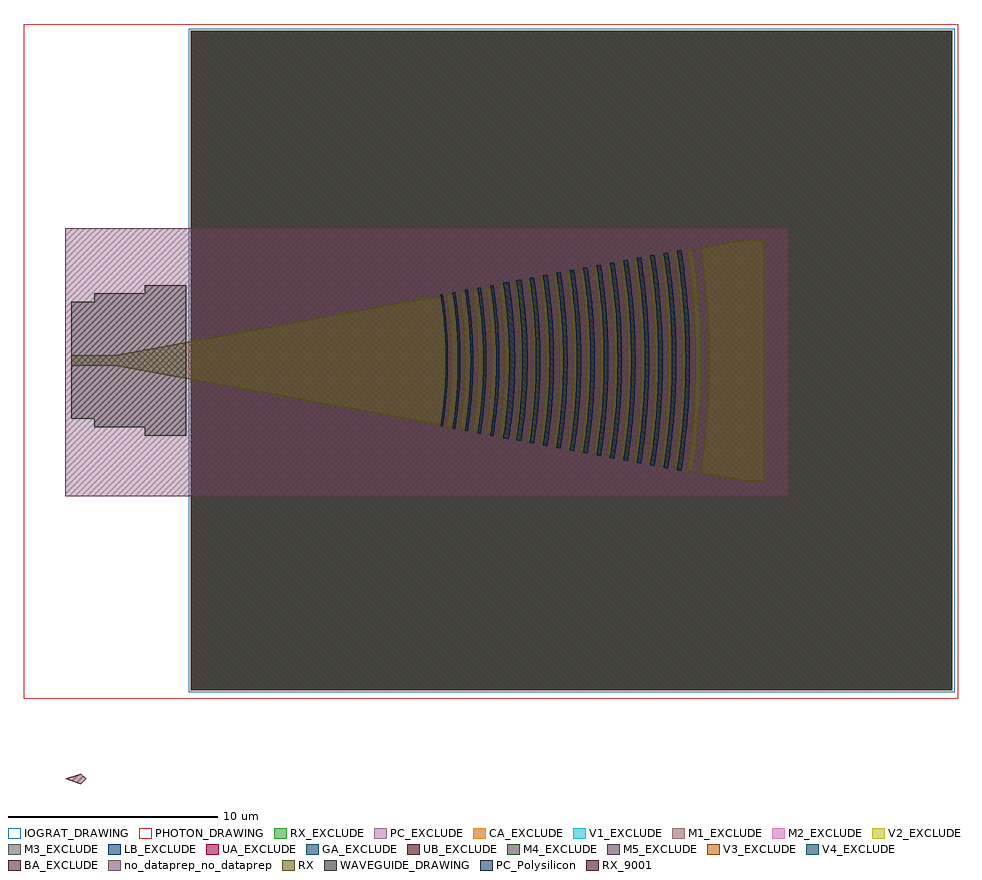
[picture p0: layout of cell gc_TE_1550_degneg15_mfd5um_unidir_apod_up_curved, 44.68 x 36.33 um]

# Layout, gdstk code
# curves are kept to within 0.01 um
import gdstk
lib = gdstk.Library(unit=1e-6, precision=1e-09)
def R(c, l, rs):  # rectangles x0, y0, x1, y1
    for r in rs: c.add(gdstk.rectangle(r[:2], r[2:], *l))
def P(c, l, *ps):  # polygons
    for p in ps: c.add(gdstk.Polygon(p, *l))
RX = (2, 0)
RX_EXCLUDE = (2, 2)
RX_9001 = (2, 9001)
PC_Polysilicon = (7, 0)
PC_EXCLUDE = (7, 2)
CA_EXCLUDE = (14, 2)
M1_EXCLUDE = (15, 2)
V1_EXCLUDE = (16, 3)
M2_EXCLUDE = (17, 2)
V2_EXCLUDE = (18, 3)
M3_EXCLUDE = (19, 2)
LB_EXCLUDE = (69, 2)
UA_EXCLUDE = (161, 2)
GA_EXCLUDE = (162, 2)
UB_EXCLUDE = (163, 2)
PHOTON_DRAWING = (212, 235)
WAVEGUIDE_DRAWING = (212, 239)
IOGRAT_DRAWING = (212, 252)
M4_EXCLUDE = (578, 2)
M5_EXCLUDE = (579, 2)
V3_EXCLUDE = (580, 2)
V4_EXCLUDE = (581, 2)
no_dataprep_no_dataprep = (1015, 0)
BA_EXCLUDE = (1560, 2)

gc_te_1550_degneg15_mfd5 = lib.new_cell('gc_TE_1550_degneg15_mfd5um_unidir_apod_up_curved$M0$')
P(gc_te_1550_degneg15_mfd5, RX, [(159.2,-29.19),(154.94,-28.4),(155.39,-25.31),(155.62,-23.56),(155.9,-21.24),(156.15,-18.91),(156.47,-15.42),(156.76,-11.35),(156.94,-7.85),(157.05,-4.36),(157.1,-0.87),(157.09,2.04),(157.05,4.36),(156.94,7.85),(156.76,11.35),(156.56,14.26),(156.26,17.75),(155.9,21.24),(155.62,23.57),(155.39,25.31),(154.94,28.4),(159.2,29.19),(159.42,27.81),(159.68,26.02),(160.15,22.43),(160.36,20.64),(160.55,18.84),(160.88,15.25),(161.14,11.66),(161.33,8.08),(161.45,4.49),(161.5,0.9),(161.49,-2.09),(161.45,-4.49),(161.33,-8.08),(161.14,-11.66),(160.88,-15.25),(160.55,-18.84),(160.36,-20.64),(160.15,-22.43),(159.68,-26.02),(159.42,-27.81)],
  [(164.72,-30.2),(160.58,-29.44),(160.98,-26.85),(161.31,-24.44),(161.54,-22.62),(161.75,-20.82),(162.06,-17.8),(162.37,-14.18),(162.64,-9.95),(162.75,-7.54),(162.85,-4.53),(162.9,-0.91),(162.89,2.11),(162.85,4.53),(162.75,7.54),(162.64,9.96),(162.37,14.18),(162.06,17.8),(161.88,19.61),(161.54,22.62),(161.23,25.04),(160.98,26.85),(160.58,29.44),(164.72,30.2),(165.13,27.54),(165.55,24.45),(165.92,21.35),(166.18,18.88),(166.35,17.02),(166.6,13.93),(166.8,10.83),(166.92,8.35),(167.03,5.26),(167.09,2.17),(167.1,0.93),(167.09,-2.17),(167.03,-5.26),(166.97,-7.12),(166.8,-10.83),(166.6,-13.92),(166.35,-17.02),(166.18,-18.88),(165.85,-21.97),(165.55,-24.45),(165.13,-27.54)],
  [(170.26,-31.21),(166.3,-30.49),(166.8,-27.18),(167.29,-23.43),(167.77,-19.06),(168,-16.56),(168.28,-12.81),(168.43,-10.31),(168.52,-8.44),(168.63,-5.31),(168.69,-2.19),(168.7,-0.94),(168.69,2.19),(168.66,4.06),(168.57,7.19),(168.36,11.56),(168.15,14.68),(168,16.56),(167.77,19.06),(167.29,23.43),(166.8,27.18),(166.3,30.49),(170.26,31.21),(170.58,29.1),(170.94,26.54),(171.34,23.35),(171.69,20.15),(172.04,16.31),(172.23,13.75),(172.39,11.19),(172.49,9.27),(172.57,7.36),(172.63,5.44),(172.7,0.96),(172.69,-2.24),(172.66,-4.16),(172.57,-7.36),(172.39,-11.19),(172.14,-15.03),(171.93,-17.59),(171.69,-20.15),(171.34,-23.35),(170.94,-26.54),(170.58,-29.1)],
  [(176,-32.26),(172.23,-31.57),(172.65,-28.79),(173.17,-24.91),(173.61,-21.03),(173.8,-19.09),(174.03,-16.5),(174.18,-14.56),(174.35,-11.97),(174.54,-8.09),(174.66,-4.21),(174.7,-0.97),(174.69,2.26),(174.66,4.21),(174.59,6.79),(174.42,10.68),(174.18,14.56),(174.03,16.5),(173.8,19.09),(173.4,22.97),(172.92,26.85),(172.46,30.09),(172.23,31.57),(176,32.26),(176.42,29.42),(176.78,26.77),(177.18,23.47),(177.59,19.5),(177.82,16.86),(178.02,14.21),(178.22,10.91),(178.34,8.26),(178.46,4.3),(178.5,0.99),(178.49,-2.31),(178.46,-4.3),(178.41,-6.28),(178.34,-8.26),(178.22,-10.91),(178.02,-14.21),(177.71,-18.18),(177.46,-20.82),(177.18,-23.47),(176.78,-26.77),(176.42,-29.42)],
  [(181.91,-33.35),(178.46,-32.72),(179.08,-28.49),(179.34,-26.48),(179.66,-23.8),(180.08,-19.78),(180.31,-17.09),(180.6,-13.07),(180.81,-9.05),(180.96,-4.36),(181,-1.01),(181,1.01),(180.96,4.36),(180.81,9.05),(180.6,13.07),(180.31,17.09),(180.08,19.78),(179.66,23.8),(179.34,26.48),(179.08,28.49),(178.46,32.72),(181.91,33.35),(182.63,28.36),(182.89,26.31),(183.21,23.58),(183.62,19.48),(183.85,16.74),(184,14.69),(184.17,11.96),(184.36,7.86),(184.47,3.76),(184.5,1.03),(184.5,-1.03),(184.47,-3.76),(184.36,-7.86),(184.17,-11.96),(184,-14.69),(183.85,-16.74),(183.62,-19.48),(183.21,-23.58),(182.89,-26.31),(182.63,-28.36)],
  [(187.94,-34.45),(184.57,-33.84),(185.11,-30.16),(185.48,-27.39),(185.65,-26),(186.04,-22.53),(186.43,-18.37),(186.74,-14.21),(186.94,-10.75),(187.03,-8.67),(187.14,-5.2),(187.19,-2.43),(187.2,-1.04),(187.2,1.04),(187.17,3.81),(187.1,6.59),(187.03,8.67),(186.94,10.75),(186.74,14.21),(186.54,16.99),(186.37,19.07),(186.11,21.84),(185.65,26),(185.48,27.39),(185.11,30.16),(184.57,33.84),(187.94,34.45),(188.49,30.71),(188.95,27.18),(189.35,23.65),(189.7,20.12),(189.88,18),(190.18,13.77),(190.37,10.24),(190.48,7.41),(190.54,5.29),(190.6,1.06),(190.59,-2.47),(190.54,-5.29),(190.48,-7.41),(190.37,-10.24),(190.3,-11.65),(190.18,-13.77),(189.99,-16.59),(189.7,-20.12),(189.2,-25.06),(188.68,-29.3),(188.29,-32.12)],
  [(194.13,-35.59),(191,-35.01),(191.25,-33.36),(191.75,-29.77),(192.11,-26.9),(192.58,-22.6),(192.91,-19.01),(193.18,-15.42),(193.43,-11.12),(193.58,-7.53),(193.64,-5.38),(193.67,-3.95),(193.7,-1.08),(193.7,1.08),(193.67,3.95),(193.58,7.53),(193.43,11.12),(193.27,13.99),(193.08,16.86),(192.72,21.16),(192.43,24.03),(192.11,26.9),(191.75,29.77),(191.25,33.36),(191,35.01),(194.13,35.59),(194.6,32.45),(194.9,30.26),(195.27,27.35),(195.75,22.97),(196.15,18.6),(196.46,14.22),(196.66,10.57),(196.75,8.39),(196.82,6.2),(196.87,4.01),(196.9,1.09),(196.9,-1.09),(196.87,-4.01),(196.75,-8.39),(196.55,-12.76),(196.15,-18.6),(195.75,-22.97),(195.27,-27.35),(194.9,-30.26),(194.6,-32.45)],
  [(200.33,-36.73),(197.08,-36.13),(197.24,-35.17),(197.67,-32.21),(197.97,-29.99),(198.42,-26.28),(198.81,-22.58),(199.14,-18.88),(199.41,-15.18),(199.69,-10),(199.82,-6.29),(199.88,-3.33),(199.9,-1.11),(199.88,3.33),(199.82,6.29),(199.72,9.25),(199.62,11.48),(199.5,13.7),(199.36,15.92),(199.14,18.88),(198.81,22.58),(198.42,26.28),(197.97,29.99),(197.67,32.21),(197.24,35.17),(197.08,36.13),(200.33,36.73),(200.81,33.47),(201.11,31.22),(201.56,27.46),(201.88,24.45),(202.23,20.69),(202.41,18.43),(202.57,16.17),(202.75,13.16),(202.89,10.16),(203,7.15),(203.04,5.64),(203.07,4.14),(203.1,1.13),(203.09,-2.63),(203.07,-4.14),(203,-7.15),(202.86,-10.91),(202.79,-12.41),(202.52,-16.93),(202.23,-20.69),(201.88,-24.45),(201.56,-27.46),(201.11,-31.22),(200.81,-33.47)],
  [(207.34,-38.01),(204.58,-37.5),(205.06,-34.18),(205.56,-30.34),(205.83,-28.04),(206.23,-24.2),(206.51,-21.12),(206.75,-18.05),(207,-14.21),(207.12,-11.91),(207.22,-9.6),(207.35,-4.99),(207.38,-3.46),(207.4,-1.15),(207.38,3.46),(207.27,8.07),(207.22,9.6),(207.12,11.91),(207,14.21),(206.75,18.05),(206.51,21.12),(206.23,24.2),(205.83,28.04),(205.56,30.34),(205.06,34.18),(204.58,37.5),(207.34,38.01),(207.74,35.44),(207.96,33.88),(208.47,29.99),(209,25.31),(209.23,22.98),(209.5,19.86),(209.68,17.52),(209.88,14.41),(210.08,10.51),(210.19,7.4),(210.25,5.06),(210.28,3.51),(210.3,1.17),(210.28,-3.51),(210.14,-8.96),(210.08,-10.52),(209.88,-14.41),(209.68,-17.52),(209.5,-19.86),(209.23,-22.98),(208.83,-26.87),(208.47,-29.99),(208.17,-32.32),(207.74,-35.44)],
  [(213.54,-39.15),(210.7,-38.63),(210.98,-36.8),(211.43,-33.64),(211.64,-32.06),(212.03,-28.89),(212.21,-27.31),(212.61,-23.35),(212.95,-19.39),(213.07,-17.81),(213.32,-13.85),(213.44,-11.48),(213.59,-7.52),(213.63,-5.94),(213.7,-1.19),(213.7,1.19),(213.65,5.14),(213.59,7.52),(213.44,11.48),(213.32,13.85),(213.07,17.81),(212.82,20.97),(212.61,23.35),(212.21,27.31),(211.84,30.47),(211.43,33.64),(210.98,36.8),(210.7,38.63),(213.54,39.15),(213.95,36.5),(214.29,34.09),(214.8,30.08),(215.08,27.68),(215.25,26.07),(215.49,23.67),(215.77,20.46),(216.06,16.45),(216.21,14.04),(216.37,10.83),(216.46,8.42),(216.55,5.21),(216.6,1.2),(216.6,-1.2),(216.55,-5.21),(216.46,-8.42),(216.37,-10.83),(216.21,-14.04),(216.06,-16.45),(215.77,-20.46),(215.49,-23.67),(215.25,-26.07),(215.08,-27.68),(214.8,-30.08),(214.29,-34.09),(213.95,-36.5)],
  [(219.59,-40.26),(216.7,-39.73),(216.99,-37.85),(217.34,-35.41),(217.67,-32.97),(218.07,-29.71),(218.43,-26.46),(218.75,-23.2),(218.96,-20.76),(219.26,-16.69),(219.36,-15.06),(219.6,-10.18),(219.75,-5.29),(219.8,-1.22),(219.8,1.22),(219.75,5.29),(219.6,10.18),(219.36,15.06),(219.26,16.69),(218.96,20.76),(218.75,23.2),(218.43,26.46),(218.07,29.71),(217.67,32.97),(217.34,35.41),(217.11,37.04),(216.7,39.73),(219.59,40.26),(220.12,36.7),(220.67,32.58),(220.87,30.93),(221.33,26.81),(221.79,21.86),(222.04,18.56),(222.21,16.08),(222.43,11.96),(222.53,9.49),(222.61,7.01),(222.65,5.36),(222.7,1.24),(222.7,-1.24),(222.65,-5.36),(222.53,-9.49),(222.43,-11.96),(222.26,-15.26),(221.92,-20.21),(221.72,-22.68),(221.33,-26.81),(220.87,-30.93),(220.67,-32.58),(220.12,-36.7)],
  [(226,-41.43),(223.14,-40.91),(223.56,-38.14),(223.91,-35.62),(224.34,-32.27),(224.54,-30.59),(224.73,-28.92),(224.99,-26.4),(225.23,-23.89),(225.51,-20.53),(225.75,-17.18),(225.9,-14.67),(226.13,-9.64),(226.23,-6.29),(226.3,-1.26),(226.3,1.26),(226.26,4.61),(226.23,6.29),(226.13,9.64),(225.9,14.67),(225.75,17.18),(225.51,20.53),(225.23,23.89),(224.99,26.4),(224.73,28.92),(224.54,30.59),(224.34,32.27),(223.91,35.62),(223.56,38.14),(223.14,40.91),(226,41.43),(226.3,39.47),(226.78,36.08),(227.11,33.53),(227.61,29.29),(227.79,27.59),(228.19,23.34),(228.4,20.8),(228.64,17.4),(228.84,14.01),(228.96,11.46),(229.1,7.22),(229.16,4.67),(229.2,1.27),(229.2,-1.27),(229.16,-4.67),(229.08,-8.06),(228.96,-11.46),(228.84,-14.01),(228.64,-17.4),(228.4,-20.8),(228.19,-23.34),(227.79,-27.59),(227.61,-29.29),(227.11,-33.53),(226.78,-36.08),(226.3,-39.47)],
  [(232.41,-42.61),(229.55,-42.08),(229.98,-39.23),(230.34,-36.64),(230.57,-34.92),(230.89,-32.33),(231.18,-29.75),(231.45,-27.16),(231.7,-24.57),(231.92,-21.99),(232.23,-17.68),(232.34,-15.95),(232.59,-10.78),(232.68,-8.19),(232.76,-4.74),(232.8,-1.29),(232.8,1.29),(232.76,4.74),(232.68,8.19),(232.62,9.92),(232.43,14.23),(232.34,15.95),(232.05,20.26),(231.85,22.85),(231.62,25.44),(231.18,29.75),(230.99,31.47),(230.57,34.92),(230.34,36.64),(229.98,39.23),(229.55,42.08),(232.41,42.61),(232.97,38.85),(233.44,35.36),(233.66,33.61),(234.06,30.12),(234.42,26.63),(234.81,22.26),(235.18,17.02),(235.33,14.4),(235.49,10.91),(235.58,8.29),(235.66,4.8),(235.7,1.31),(235.7,-1.31),(235.66,-4.8),(235.58,-8.29),(235.49,-10.91),(235.33,-14.4),(235.18,-17.02),(234.81,-22.26),(234.42,-26.63),(234.06,-30.12),(233.66,-33.61),(233.44,-35.36),(232.97,-38.85)],
  [(238.82,-43.78),(235.96,-43.26),(236.4,-40.33),(236.77,-37.67),(237.12,-35.01),(237.44,-32.35),(238,-27.03),(238.32,-23.49),(238.53,-20.83),(238.77,-17.28),(239.05,-11.97),(239.15,-9.31),(239.2,-7.53),(239.26,-4.87),(239.3,-1.33),(239.3,1.33),(239.26,4.87),(239.12,10.19),(239.05,11.97),(238.92,14.62),(238.77,17.28),(238.53,20.83),(238.32,23.49),(238,27.03),(237.44,32.35),(237.12,35.01),(236.77,37.67),(236.4,40.33),(235.96,43.26),(238.82,43.78),(239.52,39.02),(239.76,37.23),(240.21,33.64),(240.42,31.84),(240.8,28.26),(241.21,23.77),(241.55,19.29),(241.72,16.6),(241.82,14.8),(241.98,11.21),(242.12,6.73),(242.16,4.93),(242.2,1.35),(242.2,-1.35),(242.16,-4.93),(242.1,-7.62),(241.98,-11.21),(241.82,-14.8),(241.72,-16.6),(241.55,-19.29),(241.42,-21.08),(241.21,-23.77),(240.97,-26.46),(240.8,-28.26),(240.42,-31.84),(240.1,-34.54),(239.76,-37.23),(239.52,-39.02)],
  [(245.23,-44.96),(242.37,-44.43),(242.69,-42.33),(243.08,-39.6),(243.56,-35.96),(243.78,-34.14),(244.19,-30.5),(244.55,-26.86),(244.87,-23.21),(245.14,-19.57),(245.31,-16.84),(245.46,-14.11),(245.58,-11.38),(245.7,-7.74),(245.76,-5.01),(245.8,-1.37),(245.8,1.37),(245.76,5.01),(245.7,7.74),(245.58,11.38),(245.46,14.11),(245.31,16.84),(245.01,21.39),(244.87,23.21),(244.55,26.86),(244.19,30.5),(243.99,32.32),(243.56,35.96),(243.08,39.6),(242.69,42.33),(242.37,44.43),(245.23,44.96),(245.82,40.99),(246.07,39.15),(246.43,36.38),(246.87,32.7),(247.26,29.02),(247.44,27.17),(247.76,23.49),(247.97,20.72),(248.15,17.96),(248.31,15.2),(248.44,12.44),(248.6,7.83),(248.66,5.07),(248.7,1.38),(248.7,-1.38),(248.66,-5.07),(248.6,-7.83),(248.51,-10.59),(248.44,-12.44),(248.31,-15.2),(247.97,-20.72),(247.76,-23.49),(247.44,-27.17),(247.26,-29.02),(246.87,-32.7),(246.43,-36.38),(246.07,-39.15),(245.82,-40.99)],
  [(251.63,-46.13),(248.77,-45.61),(249.24,-42.52),(249.76,-38.78),(250,-36.91),(250.44,-33.17),(250.84,-29.44),(251.02,-27.57),(251.19,-25.7),(251.42,-22.89),(251.8,-17.29),(251.95,-14.48),(252.11,-10.75),(252.26,-5.14),(252.3,-1.4),(252.3,1.4),(252.26,5.14),(252.11,10.75),(251.95,14.48),(251.8,17.29),(251.49,21.96),(251.27,24.76),(251.02,27.57),(250.84,29.44),(250.44,33.17),(250,36.91),(249.76,38.78),(249.24,42.52),(248.77,45.61),(251.63,46.13),(251.97,43.95),(252.24,42.06),(252.63,39.23),(252.99,36.39),(253.53,31.66),(253.72,29.77),(253.99,26.94),(254.31,23.16),(254.45,21.27),(254.69,17.49),(254.89,13.71),(254.97,11.81),(255.07,8.98),(255.12,7.09),(255.2,1.42),(255.2,-1.42),(255.17,-4.25),(255.12,-7.09),(255.04,-9.92),(254.89,-13.71),(254.69,-17.49),(254.45,-21.27),(254.31,-23.16),(253.99,-26.94),(253.72,-29.77),(253.53,-31.66),(252.99,-36.39),(252.63,-39.23),(252.24,-42.06),(251.97,-43.95)],
  [(258.04,-47.31),(255.19,-46.78),(255.8,-42.65),(256.32,-38.82),(256.56,-36.9),(257,-33.07),(257.3,-30.19),(257.66,-26.36),(257.82,-24.44),(257.97,-22.53),(258.17,-19.65),(258.44,-14.86),(258.6,-11.02),(258.72,-7.19),(258.8,-1.44),(258.8,1.44),(258.74,6.23),(258.6,11.02),(258.44,14.86),(258.34,16.77),(258.17,19.65),(257.97,22.53),(257.66,26.36),(257.3,30.19),(257,33.07),(256.78,34.99),(256.32,38.82),(255.8,42.65),(255.19,46.78),(258.04,47.31),(258.53,44.1),(258.8,42.16),(259.19,39.25),(259.55,36.35),(259.88,33.44),(260.28,29.56),(260.71,24.72),(261.06,19.87),(261.18,17.93),(261.38,14.05),(261.5,11.15),(261.64,6.3),(261.7,1.45),(261.7,-1.45),(261.64,-6.3),(261.5,-11.15),(261.38,-14.05),(261.18,-17.93),(260.86,-22.78),(260.63,-25.69),(260.28,-29.56),(259.88,-33.44),(259.55,-36.35),(259.19,-39.26),(258.8,-42.16),(258.53,-44.1)],
  [(264.45,-48.48),(261.6,-47.96),(261.94,-45.69),(262.63,-40.78),(263.12,-36.85),(263.56,-32.92),(263.86,-29.97),(264.13,-27.02),(264.37,-24.07),(264.52,-22.11),(264.83,-17.2),(265.02,-13.27),(265.1,-11.3),(265.19,-8.35),(265.27,-4.42),(265.3,-1.47),(265.3,1.47),(265.27,4.42),(265.19,8.35),(265.1,11.3),(265.02,13.27),(264.83,17.2),(264.52,22.11),(264.13,27.02),(263.86,29.97),(263.56,32.92),(263.12,36.85),(262.63,40.78),(261.94,45.69),(261.6,47.96),(264.45,48.48),(264.95,45.2),(265.23,43.21),(265.63,40.23),(266.11,36.26),(266.44,33.28),(266.84,29.3),(267.02,27.32),(267.34,23.34),(267.48,21.36),(267.72,17.38),(267.96,12.42),(268.09,8.44),(268.17,4.47),(268.2,1.49),(268.2,-1.49),(268.17,-4.47),(268.09,-8.44),(268.03,-10.43),(267.96,-12.42),(267.72,-17.38),(267.48,-21.36),(267.34,-23.34),(267.02,-27.32),(266.84,-29.3),(266.44,-33.28),(266.11,-36.26),(265.63,-40.23),(265.23,-43.21),(264.95,-45.2)],
  [(270.86,-49.66),(268,-49.13),(268.21,-47.82),(268.65,-44.8),(268.93,-42.78),(269.44,-38.76),(269.8,-35.74),(270.02,-33.72),(270.42,-29.7),(270.69,-26.68),(271,-22.65),(271.2,-19.63),(271.47,-14.6),(271.63,-10.57),(271.69,-8.56),(271.77,-4.53),(271.8,-1.51),(271.8,1.51),(271.77,4.53),(271.69,8.56),(271.63,10.57),(271.47,14.6),(271.26,18.62),(271.07,21.64),(270.85,24.66),(270.69,26.68),(270.42,29.7),(270.02,33.72),(269.8,35.74),(269.32,39.76),(268.93,42.78),(268.36,46.81),(268,49.13),(270.86,49.66),(271.07,48.33),(271.66,44.26),(272.32,39.17),(272.56,37.14),(273.11,32.05),(273.4,29),(273.66,25.94),(274.03,20.86),(274.32,15.77),(274.41,13.74),(274.56,9.67),(274.61,7.63),(274.67,4.58),(274.7,1.53),(274.7,-1.53),(274.67,-4.58),(274.56,-9.67),(274.49,-11.7),(274.32,-15.77),(274.21,-17.8),(274.03,-20.86),(273.74,-24.93),(273.49,-27.98),(273.21,-31.03),(272.68,-36.12),(272.32,-39.17),(271.66,-44.26),(271.07,-48.33)],
  [(277.27,-50.83),(274.41,-50.31),(275.22,-44.84),(275.89,-39.68),(276.25,-36.59),(276.69,-32.47),(276.89,-30.41),(277.16,-27.31),(277.48,-23.19),(277.62,-21.13),(277.86,-17.01),(277.96,-14.95),(278.09,-11.85),(278.21,-7.73),(278.27,-4.64),(278.3,-1.55),(278.3,1.55),(278.27,4.64),(278.21,7.73),(278.09,11.85),(277.86,17.01),(277.62,21.13),(277.48,23.19),(277.16,27.31),(276.89,30.41),(276.69,32.47),(276.25,36.59),(275.89,39.68),(275.36,43.81),(274.62,48.96),(274.41,50.31),(277.27,50.83),(277.64,48.43),(278.23,44.26),(278.89,39.06),(279.36,34.89),(279.87,29.68),(280.05,27.6),(280.37,23.43),(280.58,20.31),(280.86,15.1),(281.02,10.94),(281.11,7.81),(281.17,4.69),(281.2,1.56),(281.2,-1.56),(281.17,-4.69),(281.11,-7.81),(281.02,-10.94),(280.81,-16.14),(280.58,-20.31),(280.37,-23.43),(280.05,-27.6),(279.87,-29.68),(279.36,-34.89),(279.13,-36.97),(278.89,-39.06),(278.23,-44.26),(277.64,-48.43)],
  [(283.68,-52.01),(280.82,-51.48),(281.5,-46.94),(282.07,-42.72),(282.46,-39.56),(282.82,-36.39),(283.15,-33.23),(283.45,-30.06),(283.72,-26.9),(283.96,-23.73),(284.17,-20.57),(284.35,-17.4),(284.5,-14.24),(284.62,-11.08),(284.71,-7.91),(284.77,-4.75),(284.8,-1.58),(284.8,1.58),(284.77,4.75),(284.71,7.91),(284.62,11.08),(284.5,14.24),(284.35,17.4),(284.17,20.57),(283.96,23.73),(283.72,26.9),(283.45,30.06),(283.15,33.23),(282.82,36.39),(282.46,39.56),(282.07,42.72),(281.5,46.94),(280.82,51.48),(283.68,52.01),(283.9,50.61),(284.66,45.29),(285.21,41.02),(285.7,36.76),(286.14,32.5),(286.34,30.37),(286.61,27.17),(286.85,23.98),(287.13,19.71),(287.35,15.45),(287.52,11.19),(287.61,7.99),(287.67,4.79),(287.7,1.6),(287.7,-1.6),(287.67,-4.79),(287.61,-7.99),(287.52,-11.19),(287.35,-15.45),(287.19,-18.65),(286.85,-23.98),(286.61,-27.17),(286.34,-30.37),(286.14,-32.5),(285.58,-37.83),(285.21,-41.02),(284.66,-45.29),(283.9,-50.61)],
  [(290.09,-53.18),(287.23,-52.66),(287.77,-49.09),(288.22,-45.85),(288.64,-42.62),(289.03,-39.38),(289.39,-36.14),(289.72,-32.91),(290.11,-28.59),(290.44,-24.28),(290.59,-22.12),(290.84,-17.8),(290.99,-14.56),(291.08,-12.41),(291.18,-9.17),(291.27,-4.86),(291.3,-1.62),(291.3,1.62),(291.27,4.85),(291.18,9.17),(291.08,12.41),(290.84,17.8),(290.72,19.96),(290.59,22.12),(290.28,26.43),(290.11,28.59),(289.72,32.91),(289.39,36.14),(289.03,39.38),(288.64,42.62),(288.22,45.85),(287.77,49.09),(287.23,52.66),(290.09,53.18),(290.79,48.49),(291.09,46.31),(291.38,44.13),(291.91,39.77),(292.27,36.5),(292.6,33.23),(292.9,29.96),(293.17,26.7),(293.41,23.43),(293.55,21.25),(293.79,16.89),(293.89,14.71),(294.08,9.26),(294.17,4.9),(294.2,1.63),(294.2,-1.63),(294.17,-4.9),(294.05,-10.35),(293.89,-14.71),(293.79,-16.89),(293.55,-21.25),(293.41,-23.43),(293.17,-26.7),(292.9,-29.96),(292.6,-33.23),(292.27,-36.5),(291.91,-39.77),(291.38,-44.13),(291.09,-46.31),(290.79,-48.49)],
  [(314.2,-57.6),(293.64,-53.83),(294.03,-51.29),(294.35,-49.08),(294.8,-45.77),(295.22,-42.46),(295.61,-39.16),(295.85,-36.95),(296.29,-32.54),(296.76,-27.02),(297,-23.71),(297.21,-20.4),(297.33,-18.2),(297.53,-13.79),(297.61,-11.58),(297.73,-7.17),(297.8,-1.65),(297.8,1.65),(297.75,6.07),(297.61,11.58),(297.53,13.79),(297.33,18.2),(297.21,20.4),(297,23.71),(296.76,27.02),(296.29,32.54),(295.85,36.95),(295.61,39.16),(295.22,42.46),(294.8,45.77),(294.35,49.08),(294.03,51.29),(293.64,53.83),(314.2,57.6),(324.2,57.6),(324.2,-57.6)])
R(gc_te_1550_degneg15_mfd5, RX_EXCLUDE, [(50,-157.6,414.2,157.6)])
P(gc_te_1550_degneg15_mfd5, RX_9001, [(-2.5,-202.5),(-10,-200),(-2.5,-197.5),(0,-200)])
P(gc_te_1550_degneg15_mfd5, PC_Polysilicon, [(170.47,-31.72),(169.48,-31.53),(169.88,-28.99),(170.15,-27.07),(170.64,-23.25),(171.05,-19.43),(171.34,-16.24),(171.53,-13.7),(171.69,-11.15),(171.79,-9.24),(171.93,-5.41),(171.96,-4.14),(172,-0.96),(171.99,2.23),(171.96,4.14),(171.89,6.69),(171.79,9.24),(171.69,11.15),(171.44,14.97),(171.23,17.52),(171.05,19.43),(170.64,23.25),(170.15,27.07),(169.88,28.99),(169.48,31.53),(170.47,31.72),(170.77,29.79),(171.14,27.23),(171.63,23.39),(171.98,20.18),(172.28,16.98),(172.57,13.14),(172.69,11.21),(172.84,8.01),(172.93,5.45),(172.96,4.16),(173,0.96),(172.99,-2.24),(172.96,-4.16),(172.89,-6.73),(172.69,-11.21),(172.48,-14.42),(172.28,-16.98),(171.98,-20.18),(171.63,-23.39),(171.14,-27.23),(170.77,-29.79)],
  [(176.39,-32.82),(175.21,-32.6),(175.62,-29.96),(176.16,-26.01),(176.4,-24.04),(176.76,-20.74),(176.95,-18.77),(177.12,-16.79),(177.36,-13.5),(177.55,-10.21),(177.64,-8.23),(177.71,-6.26),(177.76,-4.28),(177.8,-0.99),(177.8,0.99),(177.76,4.28),(177.71,6.26),(177.64,8.23),(177.55,10.21),(177.36,13.5),(177.12,16.79),(176.95,18.77),(176.76,20.74),(176.4,24.04),(176.16,26.01),(175.62,29.96),(175.21,32.6),(176.39,32.82),(176.9,29.5),(177.43,25.52),(177.74,22.87),(177.95,20.88),(178.26,17.57),(178.56,13.59),(178.68,11.6),(178.81,8.95),(178.96,4.31),(179,0.99),(178.99,-2.32),(178.96,-4.31),(178.86,-7.62),(178.75,-10.28),(178.68,-11.6),(178.42,-15.58),(178.08,-19.56),(177.88,-21.55),(177.59,-24.2),(177.26,-26.85),(176.9,-29.5)],
  [(182.41,-33.94),(181.13,-33.7),(181.65,-30.29),(182.19,-26.21),(182.51,-23.49),(182.86,-20.08),(183.04,-18.04),(183.3,-14.64),(183.51,-11.23),(183.66,-7.83),(183.74,-5.11),(183.8,-1.02),(183.8,1.02),(183.77,3.74),(183.66,7.83),(183.51,11.23),(183.3,14.64),(183.15,16.68),(182.86,20.08),(182.51,23.49),(182.19,26.21),(181.65,30.29),(181.13,33.7),(182.41,33.94),(182.63,32.56),(183.03,29.82),(183.48,26.39),(183.8,23.65),(184.02,21.6),(184.39,17.48),(184.55,15.43),(184.69,13.37),(184.84,10.63),(184.96,7.88),(185.07,3.77),(185.1,1.03),(185.1,-1.03),(185.07,-3.77),(184.96,-7.88),(184.77,-12),(184.5,-16.11),(184.33,-18.17),(184.02,-21.6),(183.56,-25.71),(183.03,-29.82),(182.63,-32.56)],
  [(188.63,-35.09),(187.15,-34.82),(187.58,-32),(187.88,-29.89),(188.33,-26.38),(188.72,-22.86),(189.12,-18.64),(189.48,-13.71),(189.6,-11.6),(189.7,-9.5),(189.78,-7.38),(189.87,-3.87),(189.9,-1.06),(189.9,1.06),(189.84,5.28),(189.7,9.5),(189.6,11.61),(189.48,13.71),(189.12,18.64),(188.93,20.75),(188.57,24.27),(188.33,26.38),(187.88,29.89),(187.58,32),(187.15,34.82),(188.63,35.09),(188.96,32.96),(189.16,31.55),(189.46,29.42),(189.73,27.29),(189.98,25.17),(190.21,23.04),(190.42,20.91),(190.67,18.08),(190.93,14.53),(191.06,12.41),(191.13,10.99),(191.28,7.44),(191.34,5.32),(191.4,1.06),(191.4,-1.06),(191.37,-3.9),(191.28,-7.44),(191.06,-12.41),(190.78,-16.66),(190.61,-18.79),(190.42,-20.91),(190.21,-23.04),(189.9,-25.87),(189.46,-29.42),(188.96,-32.96)],
  [(194.74,-36.23),(193.26,-35.95),(193.49,-34.5),(193.81,-32.32),(194.39,-27.96),(194.88,-23.6),(195.1,-21.43),(195.23,-19.97),(195.52,-16.34),(195.71,-13.44),(195.79,-11.98),(195.95,-8.35),(196.04,-5.45),(196.07,-3.99),(196.1,-1.09),(196.1,1.09),(196.04,5.45),(195.95,8.35),(195.86,10.53),(195.71,13.44),(195.52,16.34),(195.29,19.25),(195.1,21.43),(194.88,23.6),(194.56,26.51),(194.3,28.69),(194.01,30.87),(193.6,33.77),(193.26,35.95),(194.74,36.23),(195.29,32.57),(195.69,29.64),(196.05,26.71),(196.45,23.05),(196.66,20.86),(196.96,17.2),(197.16,14.27),(197.36,10.61),(197.45,8.42),(197.55,4.76),(197.6,1.1),(197.6,-1.1),(197.58,-3.29),(197.52,-6.22),(197.45,-8.42),(197.36,-10.61),(197.16,-14.27),(196.96,-17.2),(196.66,-20.86),(196.45,-23.05),(196.05,-26.71),(195.69,-29.64),(195.29,-32.57)],
  [(202.14,-37.6),(199.38,-37.09),(200.05,-32.59),(200.54,-28.85),(200.97,-25.1),(201.27,-22.1),(201.47,-19.86),(201.7,-16.86),(201.85,-14.61),(202.02,-11.61),(202.17,-7.87),(202.28,-3.37),(202.3,-1.12),(202.28,3.37),(202.17,7.87),(202.02,11.61),(201.94,13.11),(201.59,18.36),(201.27,22.1),(200.97,25.1),(200.72,27.35),(200.35,30.35),(200.05,32.59),(199.38,37.09),(202.14,37.6),(202.82,33.04),(203.22,30.01),(203.67,26.21),(203.83,24.69),(204.32,19.37),(204.44,17.85),(204.69,14.05),(204.85,11.01),(204.97,7.98),(205.05,4.94),(205.1,1.14),(205.08,-3.42),(204.97,-7.98),(204.85,-11.01),(204.69,-14.05),(204.44,-17.85),(204.19,-20.89),(203.98,-23.17),(203.67,-26.21),(203.22,-30.01),(202.82,-33.04)],
  [(208.07,-38.7),(205.6,-38.24),(205.96,-35.93),(206.29,-33.61),(206.7,-30.52),(207.15,-26.65),(207.39,-24.34),(207.68,-21.25),(207.81,-19.7),(207.93,-18.16),(208.14,-15.07),(208.31,-11.98),(208.38,-10.43),(208.47,-8.11),(208.55,-5.02),(208.58,-3.48),(208.6,-1.16),(208.58,3.48),(208.47,8.11),(208.38,10.43),(208.23,13.52),(208.14,15.07),(207.93,18.16),(207.68,21.25),(207.47,23.56),(207.06,27.43),(206.7,30.52),(206.5,32.06),(205.96,35.93),(205.6,38.24),(208.07,38.7),(208.43,36.36),(208.87,33.23),(209.46,28.54),(209.88,24.63),(210.3,19.94),(210.48,17.59),(210.68,14.46),(210.88,10.55),(210.99,7.43),(211.05,5.08),(211.08,3.52),(211.1,1.17),(211.08,-3.52),(211.01,-6.65),(210.94,-8.99),(210.88,-10.55),(210.68,-14.46),(210.48,-17.59),(210.3,-19.94),(210.03,-23.06),(209.72,-26.19),(209.46,-28.54),(208.87,-33.23),(208.43,-36.36)],
  [(214.08,-39.82),(212.01,-39.43),(212.26,-37.84),(212.72,-34.65),(213.14,-31.47),(213.69,-26.69),(214.01,-23.5),(214.41,-18.72),(214.72,-13.94),(214.84,-11.55),(214.99,-7.57),(215.05,-5.18),(215.1,-1.19),(215.1,1.19),(215.05,5.18),(214.99,7.57),(214.84,11.55),(214.72,13.94),(214.52,17.13),(214.35,19.52),(214.22,21.11),(214.01,23.5),(213.69,26.69),(213.14,31.47),(212.83,33.86),(212.26,37.84),(212.01,39.43),(214.08,39.82),(214.57,36.6),(215.01,33.38),(215.32,30.97),(215.78,26.95),(216.1,23.73),(216.38,20.51),(216.56,18.1),(216.77,14.88),(216.9,12.47),(216.97,10.86),(217.09,7.64),(217.15,5.23),(217.2,1.21),(217.2,-1.21),(217.15,-5.23),(217.09,-7.64),(216.97,-10.86),(216.9,-12.47),(216.77,-14.88),(216.56,-18.1),(216.38,-20.51),(216.1,-23.73),(215.78,-26.95),(215.32,-30.97),(215.01,-33.38),(214.57,-36.6)],
  [(220.49,-41.01),(218.42,-40.63),(219.03,-36.52),(219.58,-32.42),(219.97,-29.14),(220.4,-25.03),(220.76,-20.93),(221.06,-16.83),(221.33,-11.9),(221.51,-6.98),(221.55,-5.33),(221.6,-1.23),(221.6,1.23),(221.55,5.33),(221.51,6.98),(221.4,10.26),(221.25,13.54),(221.06,16.83),(220.89,19.29),(220.55,23.39),(220.32,25.85),(219.97,29.14),(219.58,32.42),(219.26,34.88),(218.67,38.99),(218.42,40.63),(220.49,41.01),(221.11,36.87),(221.66,32.73),(221.96,30.24),(222.32,26.93),(222.64,23.61),(222.92,20.3),(223.1,17.81),(223.3,14.5),(223.5,10.36),(223.63,6.21),(223.7,1.24),(223.7,-1.24),(223.66,-4.56),(223.61,-7.04),(223.5,-10.36),(223.3,-14.5),(223.1,-17.81),(222.92,-20.3),(222.64,-23.61),(222.32,-26.93),(221.96,-30.24),(221.66,-32.73),(221.11,-36.87)],
  [(226.89,-42.2),(224.82,-41.82),(225.33,-38.44),(225.69,-35.9),(226.02,-33.37),(226.42,-29.99),(226.78,-26.61),(227.02,-24.08),(227.43,-19.01),(227.74,-13.94),(227.86,-11.41),(228.03,-6.34),(228.1,-1.27),(228.1,1.27),(228.03,6.34),(227.86,11.41),(227.74,13.94),(227.43,19.01),(227.02,24.08),(226.78,26.61),(226.42,29.99),(226.02,33.37),(225.69,35.9),(225.21,39.28),(224.82,41.82),(226.89,42.2),(227.16,40.5),(227.77,36.24),(228.31,31.97),(228.87,26.86),(229.33,21.74),(229.64,17.48),(229.79,14.92),(229.96,11.51),(230.1,7.25),(230.16,4.69),(230.2,1.28),(230.2,-1.28),(230.16,-4.69),(230.08,-8.1),(229.96,-11.51),(229.88,-13.22),(229.64,-17.48),(229.46,-20.04),(229.26,-22.59),(228.87,-26.86),(228.41,-31.12),(227.77,-36.24),(227.16,-40.5)],
  [(233.3,-43.4),(231.23,-43.01),(231.88,-38.67),(232.57,-33.45),(232.97,-29.98),(233.41,-25.63),(233.78,-21.29),(234.08,-16.94),(234.23,-14.34),(234.39,-10.86),(234.48,-8.25),(234.56,-4.78),(234.6,-1.3),(234.6,1.3),(234.56,4.78),(234.48,8.25),(234.39,10.86),(234.23,14.34),(233.97,18.68),(233.78,21.29),(233.49,24.76),(232.97,29.98),(232.57,33.45),(232.12,36.93),(231.63,40.4),(231.23,43.01),(233.3,43.4),(234.08,38.14),(234.65,33.75),(234.96,31.12),(235.33,27.62),(235.73,23.23),(235.94,20.6),(236.12,17.97),(236.28,15.34),(236.45,11.84),(236.58,8.33),(236.66,4.82),(236.7,1.31),(236.7,-1.31),(236.66,-4.82),(236.58,-8.33),(236.52,-10.08),(236.45,-11.84),(236.28,-15.34),(235.94,-20.6),(235.5,-25.86),(235.15,-29.37),(234.86,-32),(234.43,-35.5),(234.08,-38.14)],
  [(239.71,-44.59),(237.64,-44.2),(238.18,-40.63),(238.79,-36.16),(239.12,-33.49),(239.52,-29.91),(239.96,-25.45),(240.26,-21.88),(240.57,-17.41),(240.72,-14.73),(240.88,-11.16),(240.95,-9.38),(241,-7.59),(241.06,-4.91),(241.1,-1.34),(241.1,1.34),(241.06,4.91),(240.95,9.38),(240.72,14.73),(240.57,17.41),(240.26,21.88),(240.04,24.56),(239.79,27.24),(239.52,29.91),(239.12,33.49),(238.79,36.16),(238.18,40.63),(237.64,44.2),(239.71,44.59),(240.12,41.88),(240.63,38.28),(240.87,36.48),(241.31,32.88),(241.51,31.08),(241.88,27.47),(242.28,22.97),(242.42,21.17),(242.77,15.76),(242.98,11.26),(243.12,6.76),(243.16,4.95),(243.2,1.35),(243.2,-1.35),(243.16,-4.95),(243.1,-7.66),(242.98,-11.26),(242.77,-15.76),(242.42,-21.17),(242.13,-24.77),(241.88,-27.47),(241.51,-31.08),(241.31,-32.88),(240.87,-36.48),(240.63,-38.28),(240.12,-41.88)],
  [(246.11,-45.78),(244.04,-45.39),(244.19,-44.48),(244.6,-41.73),(244.86,-39.89),(245.34,-36.22),(245.78,-32.55),(245.98,-30.72),(246.43,-26.14),(246.87,-20.63),(247.11,-16.97),(247.34,-12.38),(247.5,-7.79),(247.56,-5.04),(247.6,-1.38),(247.6,1.38),(247.56,5.04),(247.5,7.79),(247.41,10.55),(247.3,13.3),(247.11,16.97),(246.87,20.63),(246.51,25.22),(245.98,30.72),(245.78,32.55),(245.34,36.22),(244.86,39.89),(244.33,43.56),(244.04,45.39),(246.11,45.78),(246.54,43),(247.06,39.3),(247.65,34.68),(248.16,30.06),(248.52,26.36),(248.68,24.51),(249.03,19.88),(249.15,18.03),(249.35,14.33),(249.51,10.64),(249.57,8.79),(249.66,5.09),(249.7,1.39),(249.7,-1.39),(249.66,-5.09),(249.51,-10.64),(249.35,-14.33),(249.15,-18.03),(248.9,-21.73),(248.52,-26.36),(248.16,-30.06),(247.65,-34.68),(247.06,-39.3),(246.54,-43)],
  [(252.52,-46.97),(250.45,-46.58),(251.02,-42.82),(251.54,-39.06),(251.9,-36.23),(252.23,-33.41),(252.63,-29.64),(252.98,-25.88),(253.14,-24),(253.35,-21.18),(253.65,-16.47),(253.87,-11.76),(254.02,-7.06),(254.06,-5.18),(254.1,-1.41),(254.1,1.41),(254.06,5.18),(253.97,8.94),(253.87,11.76),(253.7,15.53),(253.48,19.29),(253.14,24),(252.98,25.88),(252.63,29.64),(252.23,33.41),(251.9,36.23),(251.54,39.06),(251.02,42.82),(250.45,46.58),(252.52,46.97),(253.23,42.23),(253.62,39.38),(253.98,36.53),(254.42,32.74),(254.62,30.84),(254.9,27.99),(255.23,24.2),(255.51,20.4),(255.69,17.55),(255.89,13.76),(256.04,9.96),(256.12,7.12),(256.2,1.42),(256.2,-1.42),(256.14,-6.17),(256.07,-9.01),(255.97,-11.86),(255.89,-13.76),(255.69,-17.55),(255.51,-20.4),(255.23,-24.2),(254.9,-27.99),(254.62,-30.84),(254.42,-32.74),(253.98,-36.53),(253.62,-39.38),(253.23,-42.23)],
  [(258.93,-48.16),(256.86,-47.78),(257.58,-42.95),(258.1,-39.09),(258.46,-36.19),(258.79,-33.3),(259.28,-28.47),(259.69,-23.65),(259.9,-20.75),(260.19,-15.93),(260.4,-11.1),(260.54,-6.27),(260.6,-1.45),(260.6,1.45),(260.54,6.27),(260.4,11.1),(260.28,14),(260.19,15.93),(259.9,20.75),(259.69,23.65),(259.28,28.47),(258.79,33.3),(258.46,36.19),(258.1,39.09),(257.58,42.95),(256.86,47.78),(258.93,48.16),(259.23,46.22),(259.79,42.32),(260.18,39.4),(260.54,36.49),(260.98,32.59),(261.18,30.65),(261.54,26.76),(261.78,23.84),(262.06,19.95),(262.18,18),(262.38,14.11),(262.5,11.19),(262.64,6.32),(262.7,1.46),(262.7,-1.46),(262.64,-6.32),(262.5,-11.19),(262.38,-14.11),(262.18,-18),(262.06,-19.95),(261.78,-23.84),(261.54,-26.76),(261.18,-30.65),(260.98,-32.59),(260.54,-36.49),(260.18,-39.4),(259.79,-42.32),(259.23,-46.22)],
  [(265.33,-49.35),(263.26,-48.97),(263.72,-46),(264.28,-42.04),(264.54,-40.06),(265.02,-36.11),(265.35,-33.14),(265.65,-30.17),(266.09,-25.23),(266.51,-19.29),(266.68,-16.32),(266.82,-13.36),(266.99,-8.41),(267.07,-4.45),(267.1,-1.48),(267.1,1.48),(267.07,4.45),(266.99,8.41),(266.86,12.37),(266.68,16.32),(266.51,19.29),(266.09,25.23),(265.65,30.17),(265.35,33.14),(265.02,36.11),(264.54,40.07),(264.28,42.04),(263.72,46),(263.26,48.97),(265.33,49.35),(265.49,48.36),(266.08,44.37),(266.49,41.38),(266.87,38.39),(267.22,35.39),(267.54,32.4),(267.74,30.41),(268.1,26.42),(268.26,24.43),(268.54,20.44),(268.72,17.45),(268.87,14.46),(269.03,10.47),(269.09,8.47),(269.17,4.49),(269.2,1.5),(269.2,-1.5),(269.17,-4.49),(269.09,-8.47),(269.03,-10.47),(268.87,-14.46),(268.72,-17.45),(268.54,-20.44),(268.26,-24.43),(268.1,-26.42),(267.74,-30.41),(267.33,-34.4),(266.99,-37.39),(266.62,-40.38),(266.22,-43.37),(265.79,-46.36)],
  [(271.74,-50.54),(269.67,-50.16),(270.43,-45.09),(270.71,-43.07),(271.23,-39.01),(271.81,-33.95),(272.21,-29.89),(272.48,-26.85),(272.72,-23.81),(272.93,-20.77),(273.17,-16.72),(273.39,-11.65),(273.46,-9.63),(273.51,-7.6),(273.57,-4.56),(273.6,-1.52),(273.6,1.52),(273.57,4.56),(273.51,7.6),(273.46,9.63),(273.31,13.68),(273.17,16.72),(272.93,20.77),(272.72,23.81),(272.48,26.85),(272.21,29.89),(271.7,34.96),(271.23,39.01),(270.71,43.07),(270.43,45.09),(269.67,50.16),(271.74,50.54),(272.36,46.46),(272.92,42.38),(273.31,39.31),(273.67,36.25),(274,33.19),(274.3,30.12),(274.57,27.06),(274.89,22.97),(275.09,19.91),(275.21,17.87),(275.41,13.78),(275.49,11.74),(275.61,7.66),(275.67,4.59),(275.7,1.53),(275.7,-1.53),(275.67,-4.6),(275.61,-7.66),(275.49,-11.74),(275.41,-13.79),(275.21,-17.87),(274.89,-22.98),(274.57,-27.06),(274.3,-30.12),(274,-33.19),(273.67,-36.25),(273.31,-39.31),(272.92,-42.38),(272.36,-46.46)],
  [(278.15,-51.74),(276.08,-51.35),(276.4,-49.28),(277,-45.13),(277.54,-40.98),(278.04,-36.83),(278.48,-32.68),(278.68,-30.6),(279.12,-25.42),(279.48,-20.23),(279.66,-17.12),(279.76,-15.04),(279.92,-10.89),(280.01,-7.78),(280.07,-4.67),(280.1,-1.56),(280.1,1.56),(280.07,4.67),(280.01,7.78),(279.92,10.89),(279.76,15.04),(279.66,17.12),(279.48,20.23),(279.2,24.38),(279.04,26.45),(278.77,29.57),(278.48,32.68),(278.04,36.83),(277.54,40.98),(277,45.13),(276.4,49.28),(276.08,51.35),(278.15,51.74),(278.78,47.56),(279.22,44.42),(279.88,39.19),(280.24,36.06),(280.67,31.88),(281.13,26.65),(281.37,23.52),(281.64,19.34),(281.9,14.11),(282.02,10.97),(282.11,7.84),(282.17,4.7),(282.2,1.57),(282.2,-1.57),(282.17,-4.7),(282.11,-7.84),(282.02,-10.97),(281.9,-14.11),(281.7,-18.29),(281.37,-23.52),(281.13,-26.65),(280.77,-30.83),(280.24,-36.06),(279.88,-39.19),(279.22,-44.42),(278.78,-47.56)],
  [(284.55,-52.93),(282.48,-52.54),(283.28,-47.24),(283.85,-42.99),(284.37,-38.74),(284.61,-36.62),(284.94,-33.44),(285.24,-30.25),(285.68,-24.94),(286.03,-19.64),(286.3,-14.33),(286.42,-11.15),(286.51,-7.96),(286.57,-4.78),(286.6,-1.59),(286.6,1.59),(286.57,4.78),(286.51,7.96),(286.42,11.15),(286.3,14.33),(286.09,18.58),(285.83,22.82),(285.6,26.01),(285.24,30.25),(284.94,33.44),(284.61,36.62),(284.24,39.81),(283.85,42.99),(283.57,45.11),(283.28,47.24),(282.97,49.36),(282.48,52.54),(284.55,52.93),(285.2,48.65),(285.65,45.44),(286.33,40.1),(286.81,35.82),(287.03,33.68),(287.52,28.34),(287.85,24.06),(288.06,20.85),(288.35,15.5),(288.48,12.3),(288.61,8.02),(288.67,4.81),(288.7,1.6),(288.7,-1.6),(288.67,-4.81),(288.61,-8.02),(288.48,-12.3),(288.3,-16.57),(288.06,-20.85),(287.85,-24.06),(287.69,-26.2),(287.52,-28.34),(287.03,-33.68),(286.81,-35.82),(286.33,-40.1),(285.65,-45.44),(285.2,-48.65)])
R(gc_te_1550_degneg15_mfd5, PC_EXCLUDE, [(50,-157.6,414.2,157.6)])
R(gc_te_1550_degneg15_mfd5, CA_EXCLUDE, [(50,-157.6,414.2,157.6)])
R(gc_te_1550_degneg15_mfd5, M1_EXCLUDE, [(50,-157.6,414.2,157.6)])
R(gc_te_1550_degneg15_mfd5, V1_EXCLUDE, [(50,-157.6,414.2,157.6)])
R(gc_te_1550_degneg15_mfd5, M2_EXCLUDE, [(50,-157.6,414.2,157.6)])
R(gc_te_1550_degneg15_mfd5, V2_EXCLUDE, [(50,-157.6,414.2,157.6)])
R(gc_te_1550_degneg15_mfd5, M3_EXCLUDE, [(50,-157.6,414.2,157.6)])
R(gc_te_1550_degneg15_mfd5, LB_EXCLUDE, [(50,-157.6,414.2,157.6)])
R(gc_te_1550_degneg15_mfd5, UA_EXCLUDE, [(50,-157.6,414.2,157.6)])
R(gc_te_1550_degneg15_mfd5, GA_EXCLUDE, [(50,-157.6,414.2,157.6)])
R(gc_te_1550_degneg15_mfd5, UB_EXCLUDE, [(50,-157.6,414.2,157.6)])
R(gc_te_1550_degneg15_mfd5, M4_EXCLUDE, [(50,-157.6,414.2,157.6)])
R(gc_te_1550_degneg15_mfd5, M5_EXCLUDE, [(50,-157.6,414.2,157.6)])
R(gc_te_1550_degneg15_mfd5, V3_EXCLUDE, [(50,-157.6,414.2,157.6)])
R(gc_te_1550_degneg15_mfd5, V4_EXCLUDE, [(50,-157.6,414.2,157.6)])
R(gc_te_1550_degneg15_mfd5, no_dataprep_no_dataprep, [(-9.91,-65.04,335.59,63.17)])
R(gc_te_1550_degneg15_mfd5, BA_EXCLUDE, [(50,-157.6,414.2,157.6)])
gc_te_1550_degneg15_mfd5.add(gdstk.Label('sub!', (0,0), layer=61, texttype=31))
gc_te_1550_degneg15_mfd5.add(gdstk.Label('sub!', (0,0), layer=61, texttype=31))
gc_te_1550_degneg15_mfd5.add(gdstk.Label('PORT_IN', (0,0), layer=2, texttype=9001))
gc_te_1550_degneg15_mfd5.add(gdstk.Label('PORT_OUT', (0,-200), layer=2, texttype=9001))
gc_te_1550_degneg15_mfd5.add(gdstk.Label('PORT_OUT', (0,-200), layer=2, texttype=9001))
gc_te_1550_degneg15_mfd5.add(gdstk.Label('PORT_OUT', (0,0), layer=9015, texttype=9001))
gc_te_1550_degneg15_mfd5.add(gdstk.Label('GRATING_EDGE', (314.2,0), layer=9015, texttype=9001))
gc_te_1550_degneg15_mfd5.add(gdstk.Label('OTHERSIDE', (314.2,0), layer=9015, texttype=9001))

c_gc_te_1550_degneg15_mfd5 = lib.new_cell('gc_TE_1550_degneg15_mfd5um_unidir_apod_up_curved')
P(c_gc_te_1550_degneg15_mfd5, RX, [(16.771,-3.075),(15.138,-2.775),(15.138,2.775),(16.641,3.051),(16.872,2.287),(17.025,0.399),(16.967,-0.943)],
  [(15.395,-2.822),(1.364,-0.25),(-0.712,-0.25),(-0.712,0.25),(1.364,0.25),(15.395,2.822),(15.484,2.168),(15.552,1.474),(15.594,0.78),(15.61,0.087),(15.604,-0.491),(15.565,-1.301),(15.497,-2.052)])
R(c_gc_te_1550_degneg15_mfd5, PHOTON_DRAWING, [(-2.98,-16.167,41.698,16.083)])
P(c_gc_te_1550_degneg15_mfd5, WAVEGUIDE_DRAWING, [(2.8,-3.6),(2.8,-3.2),(0.4,-3.2),(0.4,-2.8),(-0.712,-2.8),(-0.712,2.8),(0.4,2.8),(0.4,3.2),(2.8,3.2),(2.8,3.6),(4.8,3.6),(4.8,-3.6)])
R(c_gc_te_1550_degneg15_mfd5, IOGRAT_DRAWING, [(4.9,-15.86,41.52,15.86), (4.9,-15.86,41.52,15.86)])
c_gc_te_1550_degneg15_mfd5.add(gdstk.Reference(gc_te_1550_degneg15_mfd5, (0,0), magnification=0.1))

lib.write_gds('gc_TE_1550_degneg15_mfd5um_unidir_apod_up_curved.gds')
